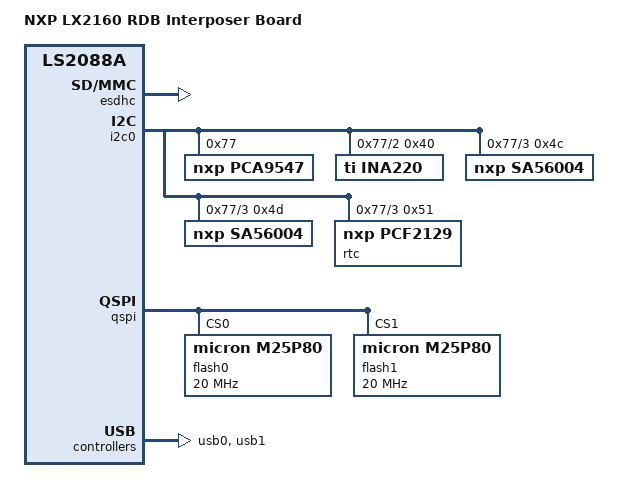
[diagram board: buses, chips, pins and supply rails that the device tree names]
/*
 * Device Tree file for NXP LX2160A RDB Interposer Board.
 *
 * Copyright 2017-2018 NXP
 *
 * This file is dual-licensed: you can use it either under the terms
 * of the GPLv2 or the X11 license, at your option. Note that this dual
 * licensing only applies to this file, and not this project as a
 * whole.
 *
 *  a) This library is free software; you can redistribute it and/or
 *     modify it under the terms of the GNU General Public License as
 *     published by the Free Software Foundation; either version 2 of the
 *     License, or (at your option) any later version.
 *
 *     This library is distributed in the hope that it will be useful,
 *     but WITHOUT ANY WARRANTY; without even the implied warranty of
 *     MERCHANTABILITY or FITNESS FOR A PARTICULAR PURPOSE.  See the
 *     GNU General Public License for more details.
 *
 * Or, alternatively,
 *
 *  b) Permission is hereby granted, free of charge, to any person
 *     obtaining a copy of this software and associated documentation
 *     files (the "Software"), to deal in the Software without
 *     restriction, including without limitation the rights to use,
 *     copy, modify, merge, publish, distribute, sublicense, and/or
 *     sell copies of the Software, and to permit persons to whom the
 *     Software is furnished to do so, subject to the following
 *     conditions:
 *
 *     The above copyright notice and this permission notice shall be
 *     included in all copies or substantial portions of the Software.
 *
 *     THE SOFTWARE IS PROVIDED "AS IS", WITHOUT WARRANTY OF ANY KIND,
 *     EXPRESS OR IMPLIED, INCLUDING BUT NOT LIMITED TO THE WARRANTIES
 *     OF MERCHANTABILITY, FITNESS FOR A PARTICULAR PURPOSE AND
 *     NONINFRINGEMENT. IN NO EVENT SHALL THE AUTHORS OR COPYRIGHT
 *     HOLDERS BE LIABLE FOR ANY CLAIM, DAMAGES OR OTHER LIABILITY,
 *     WHETHER IN AN ACTION OF CONTRACT, TORT OR OTHERWISE, ARISING
 *     FROM, OUT OF OR IN CONNECTION WITH THE SOFTWARE OR THE USE OR
 *     OTHER DEALINGS IN THE SOFTWARE.
 */

/dts-v1/;

#include "fsl-ls2088a.dtsi"

/ {
	model = "NXP LX2160 RDB Interposer Board";
	compatible = "fsl,lx2160a-rdb", "fsl,lx2160a";

	aliases {
		serial0 = &serial0;
		serial1 = &serial1;
	};

	chosen {
		stdout-path = "serial1:115200n8";
	};
};

&esdhc {
	sd-uhs-sdr104;
	sd-uhs-sdr50;
	sd-uhs-sdr25;
	sd-uhs-sdr12;
	status = "okay";
};

&ifc {
	status = "disabled";
};

&i2c0 {
	status = "okay";
	pca9547@77 {
		compatible = "nxp,pca9547";
		reg = <0x77>;
		#address-cells = <1>;
		#size-cells = <0>;

		i2c@2 {
			#address-cells = <1>;
			#size-cells = <0>;
			reg = <0x02>;

			ina220@40 {
				compatible = "ti,ina220";
				reg = <0x40>;
				shunt-resistor = <500>;
			};
		};

		i2c@3 {
			#address-cells = <1>;
			#size-cells = <0>;
			reg = <0x3>;

			sa56004@4c {
				compatible = "nxp,sa56004";
				reg = <0x4c>;
			};

			sa56004@4d {
				compatible = "nxp,sa56004";
				reg = <0x4d>;
			};

			rtc@51 {
				compatible = "nxp,pcf2129";
				reg = <0x51>;
			};
		};
	};
};

&qspi {
	status = "okay";
	fsl,qspi-has-second-chip;
	flash0: mt35xu512g@0 {
		#address-cells = <1>;
		#size-cells = <1>;
		compatible = "micron,m25p80";
		m25p,fast-read;
		spi-max-frequency = <20000000>;
		reg = <0>;
	};

	flash1: mt35xu512g@1 {
		#address-cells = <1>;
		#size-cells = <1>;
		compatible = "micron,m25p80";
		m25p,fast-read;
		spi-max-frequency = <20000000>;
		reg = <1>;
	};
};

&usb0 {
	status = "okay";
};

&usb1 {
	status = "okay";
};

&emdio1 {
	status = "disabled";
	/* CS4340 PHYs */
	mdio1_phy1: emdio1_phy@1 {
		reg = <0x10>;
		phy-connection-type = "xfi";
	};
	mdio1_phy2: emdio1_phy@2 {
		reg = <0x11>;
		phy-connection-type = "xfi";
	};
	mdio1_phy3: emdio1_phy@3 {
		reg = <0x12>;
		phy-connection-type = "xfi";
	};
	mdio1_phy4: emdio1_phy@4 {
		reg = <0x13>;
		phy-connection-type = "xfi";
	};
};

&emdio2 {
	status = "disabled";
};
